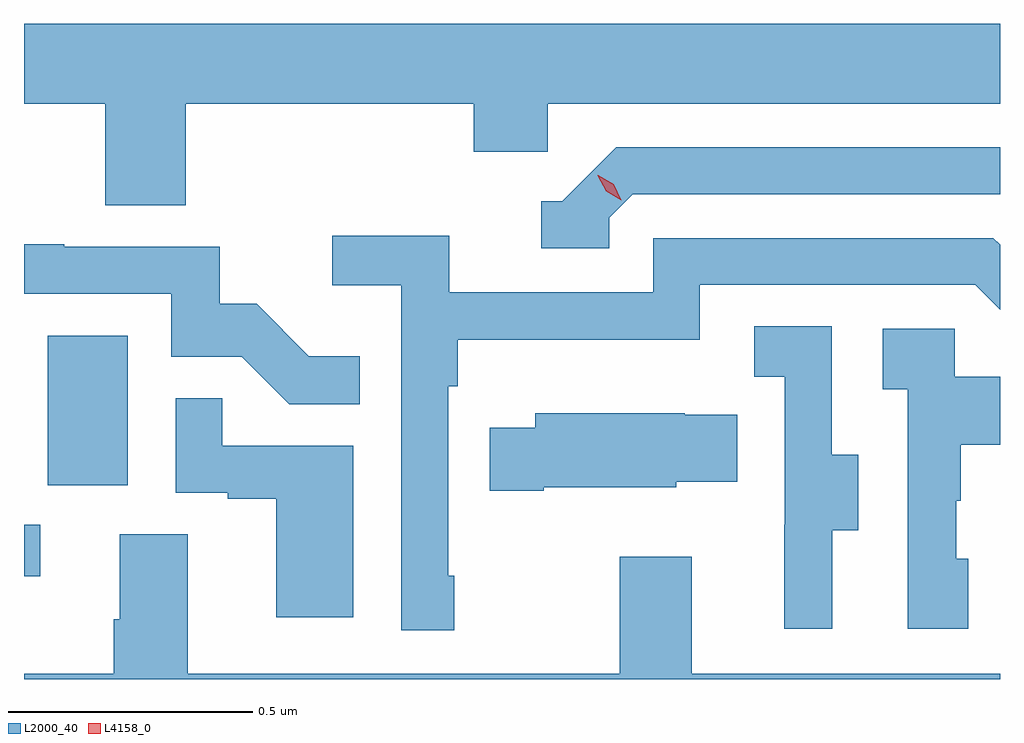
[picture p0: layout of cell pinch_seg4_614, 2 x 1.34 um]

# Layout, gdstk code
import gdstk
lib = gdstk.Library(unit=1e-6, precision=1e-09)
def R(c, l, rs):  # rectangles x0, y0, x1, y1
    for r in rs: c.add(gdstk.rectangle(r[:2], r[2:], *l))
def P(c, l, *ps):  # polygons
    for p in ps: c.add(gdstk.Polygon(p, *l))
L2000_40 = (2000, 40)
L4158_0 = (4158, 0)

pinch_seg4_614 = lib.new_cell('pinch_seg4_614')
R(pinch_seg4_614, L2000_40, [(1067.923,774.54,1067.956,774.645), (1067.972,774.726,1068.136,775.033)])
P(pinch_seg4_614, L2000_40, [(1068.254,775.508),(1068.845,775.508),(1068.845,775.41),(1068.996,775.41),(1068.996,775.508),(1069.923,775.508),(1069.923,775.672),(1067.923,775.672),(1067.923,775.508),(1068.089,775.508),(1068.089,775.3),(1068.254,775.3)],
  [(1069.122,775.275),(1069.17,775.323),(1069.923,775.323),(1069.923,775.419),(1069.137,775.419),(1069.026,775.308),(1068.983,775.308),(1068.983,775.212),(1069.122,775.212)],
  [(1068.805,774.541),(1068.792,774.541),(1068.792,774.929),(1068.812,774.929),(1068.812,775.025),(1069.308,775.025),(1069.308,775.137),(1069.872,775.137),(1069.923,775.086),(1069.923,775.219),(1069.909,775.233),(1069.212,775.233),(1069.212,775.122),(1068.794,775.122),(1068.794,775.238),(1068.555,775.238),(1068.555,775.136),(1068.696,775.136),(1068.696,774.429),(1068.805,774.429)],
  [(1068.611,774.991),(1068.507,774.991),(1068.4,775.098),(1068.324,775.098),(1068.324,775.215),(1068.005,775.215),(1068.005,775.22),(1067.923,775.22),(1067.923,775.119),(1068.225,775.119),(1068.225,774.99),(1068.369,774.99),(1068.467,774.892),(1068.611,774.892)],
  [(1069.579,774.634),(1069.633,774.634),(1069.633,774.789),(1069.578,774.789),(1069.578,775.052),(1069.419,775.052),(1069.419,774.949),(1069.482,774.949),(1069.482,774.645),(1069.481,774.645),(1069.481,774.432),(1069.579,774.432)],
  [(1069.858,774.576),(1069.833,774.576),(1069.833,774.695),(1069.843,774.695),(1069.843,774.809),(1069.923,774.809),(1069.923,774.949),(1069.83,774.949),(1069.83,775.047),(1069.683,775.047),(1069.683,774.923),(1069.734,774.923),(1069.734,774.432),(1069.858,774.432)],
  [(1068.598,774.807),(1068.329,774.807),(1068.329,774.905),(1068.234,774.905),(1068.234,774.711),(1068.341,774.711),(1068.341,774.699),(1068.44,774.699),(1068.44,774.456),(1068.598,774.456)],
  [(1068.988,774.722),(1069.26,774.722),(1069.26,774.734),(1069.385,774.734),(1069.385,774.871),(1069.277,774.871),(1069.277,774.874),(1068.971,774.874),(1068.971,774.844),(1068.877,774.844),(1068.877,774.715),(1068.988,774.715)],
  [(1069.923,774.34),(1069.291,774.34),(1069.291,774.58),(1069.144,774.58),(1069.144,774.34),(1068.259,774.34),(1068.259,774.626),(1068.119,774.626),(1068.119,774.452),(1068.107,774.452),(1068.107,774.34),(1067.923,774.34),(1067.923,774.329),(1069.923,774.329)])
P(pinch_seg4_614, L4158_0, [(1069.147,775.31),(1069.116,775.329),(1069.099,775.361),(1069.099,775.362),(1069.1,775.362),(1069.131,775.343),(1069.147,775.31),(1069.147,775.31)])

lib.write_gds('pinch_seg4_614.gds')
